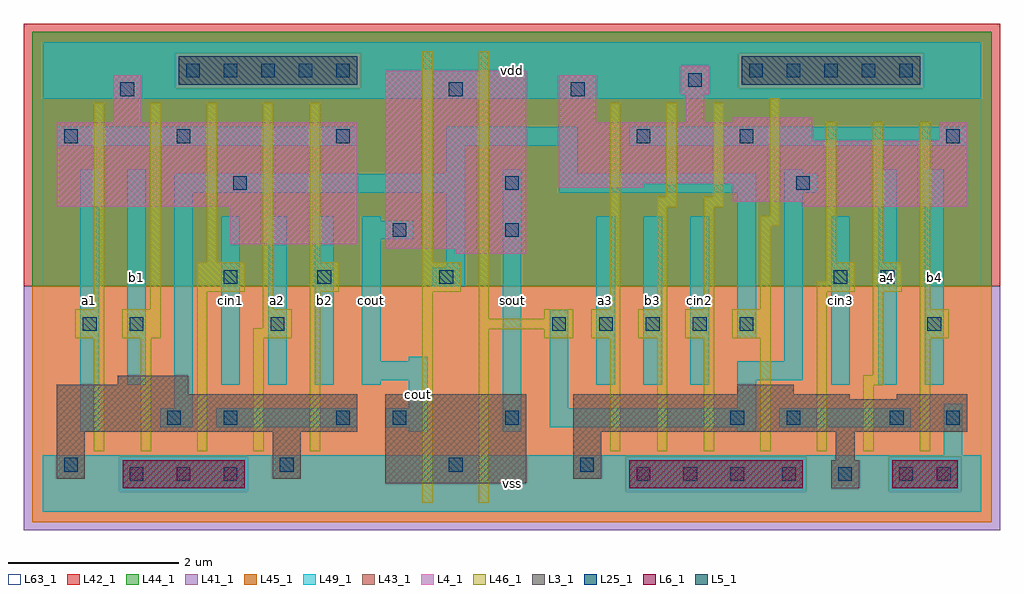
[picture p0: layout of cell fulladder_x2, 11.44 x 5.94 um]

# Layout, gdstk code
import gdstk
lib = gdstk.Library(unit=1e-6, precision=1e-09)
def R(c, l, rs):  # rectangles x0, y0, x1, y1
    for r in rs: c.add(gdstk.rectangle(r[:2], r[2:], *l))
def A(c, l, x, y, w, h, nx, ny, dx, dy):  # array of equal rectangles
    R(c, l, [(x+i*dx, y+j*dy, x+i*dx+w, y+j*dy+h) for i in range(nx) for j in range(ny)])
L3_1 = (3, 1)
L4_1 = (4, 1)
L5_1 = (5, 1)
L6_1 = (6, 1)
L25_1 = (25, 1)
L41_1 = (41, 1)
L42_1 = (42, 1)
L43_1 = (43, 1)
L44_1 = (44, 1)
L45_1 = (45, 1)
L46_1 = (46, 1)
L49_1 = (49, 1)
L63_1 = (63, 1)

fulladder_x2 = lib.new_cell('fulladder_x2')
R(fulladder_x2, L3_1, [(9.24,0.275,9.57,0.605), (4.015,0.33,5.665,1.375), (0.165,0.385,0.495,0.935), (2.695,0.385,3.025,0.935), (6.215,0.385,6.545,0.935), (9.295,0.605,9.515,0.935), (0.165,0.935,3.685,1.375), (6.215,0.935,10.835,1.32), (6.215,1.32,9.46,1.375), (10.01,1.32,10.835,1.375), (0.165,1.375,1.705,1.485), (8.14,1.375,8.8,1.485), (0.88,1.485,1.705,1.595)])
R(fulladder_x2, L4_1, [(4.84,3.025,5.665,3.08), (4.015,3.08,5.665,5.17), (2.2,3.135,3.685,3.575), (0.165,3.575,3.685,4.565), (8.91,3.575,10.835,3.63), (8.085,3.63,10.835,3.85), (6.05,3.795,7.04,3.85), (6.05,3.85,10.835,4.345), (6.05,4.345,9.02,4.565), (10.505,4.345,10.835,4.565), (0.825,4.565,1.155,5.115), (6.05,4.565,6.49,5.115), (7.535,4.565,7.755,4.895), (8.085,4.565,9.02,4.62), (7.48,4.895,7.81,5.225)])
R(fulladder_x2, L5_1, [(1.595,5.005,3.685,5.335), (8.195,5.005,10.285,5.335)])
R(fulladder_x2, L6_1, [(0.935,0.275,2.365,0.605), (6.875,0.275,8.91,0.605), (9.955,0.275,10.725,0.605)])
A(fulladder_x2, L25_1, 1.02, 0.36, 0.16, 0.16, 3, 1, 0.55, 0)
A(fulladder_x2, L25_1, 6.96, 0.36, 0.16, 0.16, 3, 1, 0.55, 0)
A(fulladder_x2, L25_1, 5.97, 2.12, 0.16, 0.16, 5, 1, 0.55, 0)
A(fulladder_x2, L25_1, 1.68, 5.09, 0.16, 0.16, 5, 1, 0.44, 0)
A(fulladder_x2, L25_1, 8.28, 5.09, 0.16, 0.16, 5, 1, 0.44, 0)
R(fulladder_x2, L25_1, [(8.665,0.36,8.825,0.52), (9.325,0.36,9.485,0.52), (10.04,0.36,10.2,0.52), (10.48,0.36,10.64,0.52), (0.25,0.47,0.41,0.63), (2.78,0.47,2.94,0.63), (4.76,0.47,4.92,0.63), (6.3,0.47,6.46,0.63), (1.46,1.02,1.62,1.18), (2.12,1.02,2.28,1.18), (3.44,1.02,3.6,1.18), (4.1,1.02,4.26,1.18), (5.42,1.02,5.58,1.18), (8.06,1.02,8.22,1.18), (8.72,1.02,8.88,1.18), (9.93,1.02,10.09,1.18), (10.59,1.02,10.75,1.18), (0.47,2.12,0.63,2.28), (1.02,2.12,1.18,2.28), (2.67,2.12,2.83,2.28), (10.37,2.12,10.53,2.28), (2.12,2.67,2.28,2.83), (3.22,2.67,3.38,2.83), (4.65,2.67,4.81,2.83), (9.27,2.67,9.43,2.83), (9.82,2.67,9.98,2.83), (4.1,3.22,4.26,3.38), (5.42,3.22,5.58,3.38), (2.23,3.77,2.39,3.93), (5.42,3.77,5.58,3.93), (8.83,3.77,8.99,3.93), (0.25,4.32,0.41,4.48), (1.57,4.32,1.73,4.48), (3.44,4.32,3.6,4.48), (6.96,4.32,7.12,4.48), (8.17,4.32,8.33,4.48), (10.59,4.32,10.75,4.48), (0.91,4.87,1.07,5.03), (4.76,4.87,4.92,5.03), (6.19,4.87,6.35,5.03), (7.565,4.98,7.725,5.14)])
R(fulladder_x2, L41_1, [(-0.22,-0.22,11.22,2.64)])
R(fulladder_x2, L42_1, [(-0.22,2.64,11.22,5.72)])
R(fulladder_x2, L43_1, [(0.935,0.275,2.365,0.605), (6.875,0.275,8.91,0.605), (9.24,0.275,9.57,0.605), (9.955,0.275,10.725,0.605), (4.015,0.33,5.665,1.375), (0.165,0.385,0.495,0.935), (2.695,0.385,3.025,0.935), (6.215,0.385,6.545,0.935), (9.295,0.605,9.515,0.935), (0.165,0.935,3.685,1.375), (6.215,0.935,10.835,1.32), (6.215,1.32,9.46,1.375), (10.01,1.32,10.835,1.375), (0.165,1.375,1.705,1.485), (8.14,1.375,8.8,1.485), (0.88,1.485,1.705,1.595), (4.84,3.025,5.665,3.08), (4.015,3.08,5.665,5.17), (2.2,3.135,3.685,3.575), (0.165,3.575,3.685,4.565), (8.91,3.575,10.835,3.63), (8.085,3.63,10.835,3.85), (6.05,3.795,7.04,3.85), (6.05,3.85,10.835,4.345), (6.05,4.345,9.02,4.565), (10.505,4.345,10.835,4.565), (0.825,4.565,1.155,5.115), (6.05,4.565,6.49,5.115), (7.535,4.565,7.755,4.895), (8.085,4.565,9.02,4.62), (7.48,4.895,7.81,5.225), (1.595,5.005,3.685,5.335), (8.195,5.005,10.285,5.335)])
R(fulladder_x2, L44_1, [(0.895,0.235,2.405,0.645), (6.835,0.235,8.95,0.645), (9.915,0.235,10.765,0.645), (-0.125,2.64,11.125,4.965), (-0.125,4.965,1.555,5.375), (3.725,4.965,8.155,5.375), (10.325,4.965,11.125,5.375), (-0.125,5.375,11.125,5.625)])
R(fulladder_x2, L45_1, [(-0.125,-0.125,11.125,0.235), (-0.125,0.235,0.895,0.645), (2.405,0.235,6.835,0.645), (8.95,0.235,9.915,0.645), (10.765,0.235,11.125,0.645), (-0.125,0.645,11.125,2.64), (1.555,4.965,3.725,5.375), (8.155,4.965,10.325,5.375)])
A(fulladder_x2, L46_1, 6.65, 0.71, 0.12, 1.32, 3, 1, 0.55, 0)
A(fulladder_x2, L46_1, 6.43, 2.03, 0.34, 0.34, 3, 1, 0.55, 0)
R(fulladder_x2, L46_1, [(4.45,0.105,4.57,2.58), (5.11,0.105,5.23,2.14), (0.6,0.71,0.72,2.03), (1.15,0.71,1.27,2.03), (1.81,0.71,1.93,2.58), (2.47,0.71,2.59,2.03), (3.13,0.71,3.25,2.58), (8.41,0.71,8.53,2.03), (9.07,0.71,9.19,2.58), (9.62,0.71,9.74,1.48), (10.28,0.71,10.4,2.03), (9.62,1.48,9.85,1.6), (9.73,1.6,9.85,2.58), (0.38,2.03,0.72,2.37), (0.93,2.03,1.38,2.37), (2.47,2.03,2.92,2.15), (5.88,2.03,6.22,2.14), (8.08,2.03,8.53,2.37), (10.28,2.03,10.62,2.37), (5.11,2.14,6.22,2.26), (2.58,2.15,2.92,2.37), (5.11,2.26,5.23,5.395), (5.88,2.26,6.22,2.37), (0.6,2.37,0.72,4.79), (1.26,2.37,1.38,4.79), (2.58,2.37,2.7,4.79), (6.65,2.37,6.77,4.79), (7.2,2.37,7.32,3.57), (7.75,2.37,7.87,3.57), (8.41,2.37,8.53,3.35), (10.28,2.37,10.4,4.57), (1.81,2.58,2.37,2.92), (3.13,2.58,3.47,2.92), (4.45,2.58,4.9,2.92), (9.07,2.58,9.52,2.7), (9.73,2.58,10.07,2.92), (9.18,2.7,9.52,2.92), (1.92,2.92,2.04,4.79), (3.13,2.92,3.25,4.79), (4.45,2.92,4.57,5.395), (9.18,2.92,9.3,4.57), (9.73,2.92,9.85,4.57), (8.41,3.35,8.64,3.47), (8.52,3.47,8.64,4.845), (7.2,3.57,7.43,3.69), (7.75,3.57,7.98,3.69), (7.31,3.69,7.43,4.79), (7.86,3.69,7.98,4.79)])
A(fulladder_x2, L49_1, 2.09, 1.485, 0.22, 1.98, 3, 1, 0.55, 0)
A(fulladder_x2, L49_1, 6.49, 1.485, 0.22, 1.98, 3, 1, 0.55, 0)
R(fulladder_x2, L49_1, [(0,0,11,0.66), (10.56,0.66,10.78,1.265), (0.44,0.935,0.66,4.015), (4.29,0.935,4.51,0.99), (5.39,0.935,5.61,4.015), (8.14,0.935,8.36,0.99), (1.375,0.99,1.76,1.21), (2.035,0.99,3.685,1.21), (4.015,0.99,4.51,1.21), (5.94,0.99,8.36,1.21), (8.635,0.99,10.175,1.21), (1.54,1.21,1.76,3.74), (4.29,1.21,4.51,1.54), (5.94,1.21,6.16,2.365), (8.14,1.21,8.36,1.54), (0.99,1.485,1.21,4.015), (3.74,1.485,3.96,1.54), (9.24,1.485,9.46,3.465), (9.79,1.485,10.01,4.015), (10.34,1.485,10.56,4.015), (3.74,1.54,4.51,1.76), (8.14,1.54,8.91,1.76), (3.74,1.76,3.96,3.19), (4.29,1.76,4.51,1.815), (8.69,1.76,8.91,3.74), (8.14,2.035,8.36,3.74), (4.565,2.64,4.95,2.86), (4.73,2.86,4.95,3.74), (3.74,3.19,4.345,3.41), (3.74,3.41,3.96,3.465), (1.54,3.74,4.95,3.96), (6.05,3.74,8.36,3.96), (8.69,3.74,9.075,3.96), (4.73,3.96,4.95,4.29), (6.05,3.96,6.27,4.29), (8.69,3.96,8.91,4.015), (0.165,4.29,3.685,4.51), (4.73,4.29,6.27,4.51), (6.875,4.29,10.835,4.51), (0,4.84,11,5.5)])
R(fulladder_x2, L63_1, [(0,0,11,5.5)])
fulladder_x2.add(gdstk.Label('b1', (1.1,2.75), layer=49, texttype=1))
fulladder_x2.add(gdstk.Label('a1', (0.55,2.475), layer=49, texttype=1))
fulladder_x2.add(gdstk.Label('cin1', (2.2,2.475), layer=49, texttype=1))
fulladder_x2.add(gdstk.Label('cout', (3.85,2.475), layer=49, texttype=1))
fulladder_x2.add(gdstk.Label('a2', (2.75,2.475), layer=49, texttype=1))
fulladder_x2.add(gdstk.Label('b2', (3.3,2.475), layer=49, texttype=1))
fulladder_x2.add(gdstk.Label('vss', (5.5,0.33), layer=49, texttype=1))
fulladder_x2.add(gdstk.Label('cout', (4.4,1.375), layer=49, texttype=1))
fulladder_x2.add(gdstk.Label('sout', (5.5,2.475), layer=49, texttype=1))
fulladder_x2.add(gdstk.Label('vdd', (5.5,5.17), layer=49, texttype=1))
fulladder_x2.add(gdstk.Label('a3', (6.6,2.475), layer=49, texttype=1))
fulladder_x2.add(gdstk.Label('b3', (7.15,2.475), layer=49, texttype=1))
fulladder_x2.add(gdstk.Label('cin2', (7.7,2.475), layer=49, texttype=1))
fulladder_x2.add(gdstk.Label('cin3', (9.35,2.475), layer=49, texttype=1))
fulladder_x2.add(gdstk.Label('a4', (9.9,2.75), layer=49, texttype=1))
fulladder_x2.add(gdstk.Label('b4', (10.45,2.75), layer=49, texttype=1))

lib.write_gds('fulladder_x2.gds')
